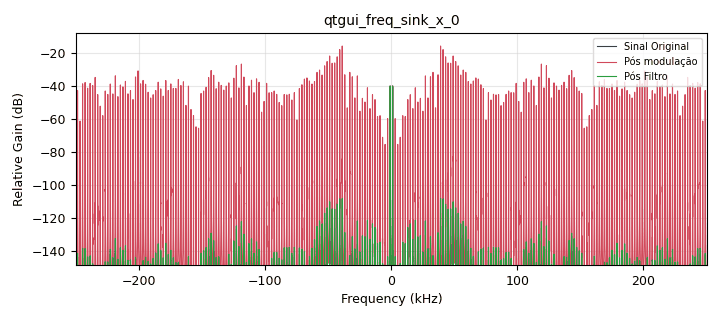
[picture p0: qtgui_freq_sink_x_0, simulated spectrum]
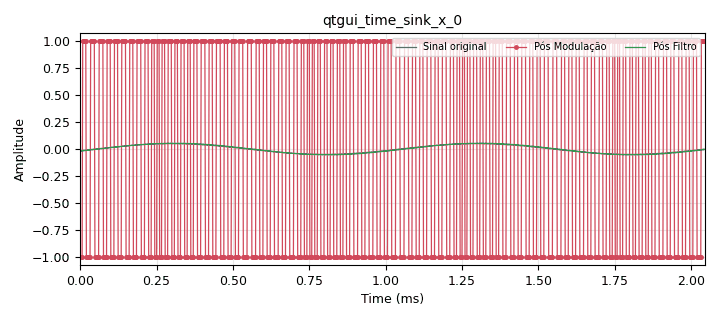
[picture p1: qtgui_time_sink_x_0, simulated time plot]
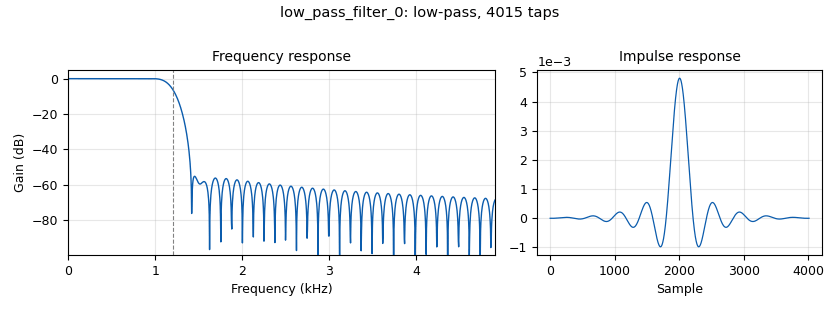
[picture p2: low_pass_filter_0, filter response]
options:
  parameters:
    author: vitor
    generate_options: qt_gui
    id: Sigma_Delta_2_Ordem
    output_language: python
    title: Not titled yet
  states: {}

blocks:
- name: samp_rate
  id: variable
  parameters:
    value: '500000'
  states: {}
- name: analog_sig_source_x_0
  id: analog_sig_source_x
  parameters:
    amp: '0.05'
    freq: '1000'
    offset: '0'
    phase: '0'
    samp_rate: samp_rate
    type: float
    waveform: analog.GR_SIN_WAVE
  states: {}
- name: blocks_float_to_complex_0
  id: blocks_float_to_complex
  parameters: {}
  states: {state: disabled}
- name: epy_block_0
  id: epy_block
  parameters:
    _source_code: |
      import numpy as np
      from gnuradio import gr

      class blk(gr.sync_block):
          def __init__(self):
              gr.sync_block.__init__(
                  self,
                  name="Sigma-Delta 2nd Ordem",
                  in_sig=[np.float32],
                  out_sig=[np.float32]
              )

              self.int1 = 0.0
              self.int2 = 0.0
              self.y_prev = 0.0
              self.leak = 0.999

          def work(self, input_items, output_items):
              x = input_items[0]
              y = output_items[0]

              for i in range(len(x)):
                  error = x[i] - self.y_prev

                  self.int1 = self.leak * self.int1 + 0.5 * error
                  self.int2 = self.leak * self.int2 + 0.25 * self.int1

                  # Anti-windup
                  self.int1 = np.clip(self.int1, -1.5, 1.5)
                  self.int2 = np.clip(self.int2, -1.5, 1.5)

                  # Dither
                  dither = 1e-4 * np.random.randn()

                  y[i] = 1.0 if (self.int2 + dither) >= 0 else -1.0
                  self.y_prev = y[i]

              return len(y)
  states: {}
- name: low_pass_filter_0
  id: low_pass_filter
  parameters:
    cutoff_freq: '1200'
    decim: '1'
    gain: '1'
    samp_rate: samp_rate
    type: fir_filter_fff
    width: '300'
    win: window.WIN_HAMMING
  states: {}
- name: qtgui_const_sink_x_0
  id: qtgui_const_sink_x
  parameters:
    autoscale: 'True'
    size: '1024'
    type: complex
  states: {state: disabled}
- name: qtgui_freq_sink_x_0
  id: qtgui_freq_sink_x
  parameters:
    autoscale: 'True'
    bw: samp_rate
    color2: '"dark blue"'
    ctrlpanel: 'True'
    fc: '0'
    fftsize: '32768'
    grid: 'True'
    label1: Sinal Original
    label2: Pós modulação
    label3: Pós Filtro
    nconnections: '3'
    type: float
    wintype: window.WIN_BLACKMAN
  states: {}
- name: qtgui_histogram_sink_x_0
  id: qtgui_histogram_sink_x
  parameters:
    autoscale: 'False'
    bins: '50'
    size: '1024'
    type: float
    xmax: '1.2'
    xmin: '-1.2'
  states: {state: disabled}
- name: qtgui_time_sink_x_0
  id: qtgui_time_sink_x
  parameters:
    ctrlpanel: 'True'
    label1: Sinal original
    label2: Pós Modulação
    label3: Pós Filtro
    marker2: '0'
    nconnections: '3'
    size: '1024'
    srate: samp_rate
    style2: '3'
    type: float
    update_time: '0.1'
  states: {}

connections:
- [analog_sig_source_x_0, '0', epy_block_0, '0']
- [analog_sig_source_x_0, '0', qtgui_freq_sink_x_0, '0']
- [analog_sig_source_x_0, '0', qtgui_time_sink_x_0, '0']
- [blocks_float_to_complex_0, '0', qtgui_const_sink_x_0, '0']
- [epy_block_0, '0', blocks_float_to_complex_0, '0']
- [epy_block_0, '0', low_pass_filter_0, '0']
- [epy_block_0, '0', qtgui_freq_sink_x_0, '1']
- [epy_block_0, '0', qtgui_histogram_sink_x_0, '0']
- [epy_block_0, '0', qtgui_time_sink_x_0, '1']
- [low_pass_filter_0, '0', qtgui_freq_sink_x_0, '2']
- [low_pass_filter_0, '0', qtgui_time_sink_x_0, '2']

metadata:
  file_format: 1
  grc_version: 3.10.12.0
